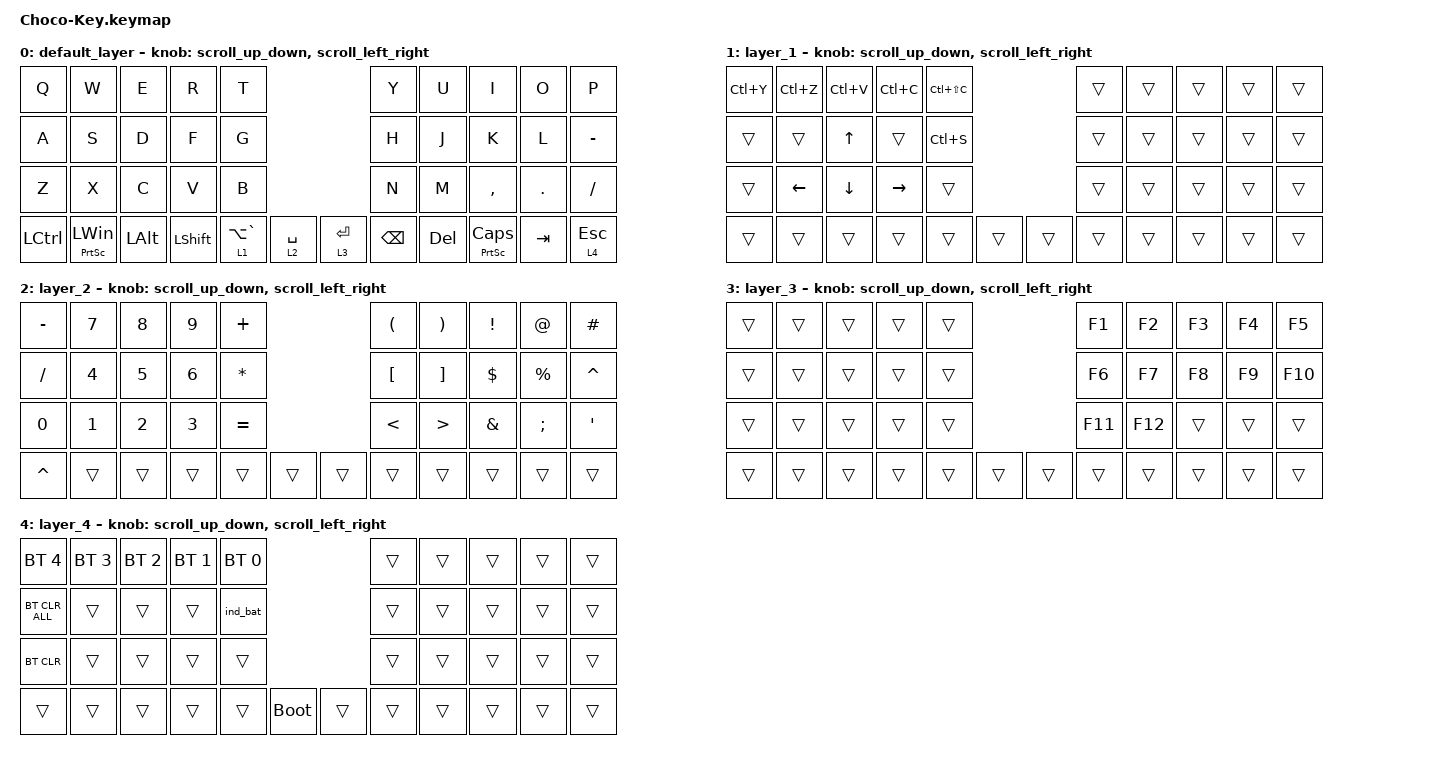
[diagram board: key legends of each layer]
#include <behaviors.dtsi>
#include <dt-bindings/zmk/bt.h>
#include <dt-bindings/zmk/keys.h>
#include <dt-bindings/zmk/pointing.h>
#include <behaviors/rgbled_widget.dtsi>

#define ZMK_POINTING_DEFAULT_SCRL_VAL 100

&mt {
    flavor = "balanced";
    quick-tap-ms = <0>;
};

/ {
    combos { compatible = "zmk,combos"; };

    macros {
        to_layer_0: to_layer_0 {
            compatible = "zmk,behavior-macro-one-param";
            #binding-cells = <1>;
            bindings = <&to 0 &macro_param_1to1 &kp MACRO_PLACEHOLDER>;
            label = "TO_LAYER_0";
        };
    };

    behaviors {
        lt_to_layer_0: lt_to_layer_0 {
            compatible = "zmk,behavior-hold-tap";
            label = "LAYER_TAP_TO_0";
            bindings = <&mo>, <&to_layer_0>;

            #binding-cells = <2>;
            tapping-term-ms = <200>;
        };

        scroll_up_down: behavior_sensor_rotate_mouse_wheel_up_down {
            compatible = "zmk,behavior-sensor-rotate";
            #sensor-binding-cells = <0>;
            bindings = <&msc SCRL_UP>, <&msc SCRL_DOWN>;

            tap-ms = <20>;
        };

        scroll_left_right: behavior_sensor_rotate_mouse_wheel_left_right {
            compatible = "zmk,behavior-sensor-rotate";
            #sensor-binding-cells = <0>;
            bindings = <&msc SCRL_RIGHT>, <&msc SCRL_LEFT>;

            tap-ms = <20>;
        };  
    };

    keymap {
        compatible = "zmk,keymap";

        default_layer {
            bindings = <
&kp Q      &kp W           &kp E     &kp R      &kp T                                        &kp Y     &kp U    &kp I           &kp O    &kp P
&kp A      &kp S           &kp D     &kp F      &kp G                                        &kp H     &kp J    &kp K           &kp L    &kp MINUS
&kp Z      &kp X           &kp C     &kp V      &kp B                                        &kp N     &kp M    &kp COMMA       &kp DOT  &kp SLASH
&kp LCTRL  &mt PSCRN LWIN  &kp LALT  &kp LSHFT  &lt 1 LA(GRAVE)  &lt 2 SPACE    &lt 3 ENTER  &kp BSPC  &kp DEL  &mt PSCRN CAPS  &kp TAB  &lt 4 ESC
            >;

            sensor-bindings = <&scroll_up_down>, <&scroll_left_right>;
        };

        layer_1 {
            bindings = <
&kp LC(Y)  &kp LC(Z)  &kp LC(V)  &kp LC(C)  &kp LC(LS(C))                    &trans  &trans  &trans  &trans  &trans
&trans     &trans     &kp UP     &trans     &kp LC(S)                        &trans  &trans  &trans  &trans  &trans
&trans     &kp LEFT   &kp DOWN   &kp RIGHT  &trans                           &trans  &trans  &trans  &trans  &trans
&trans     &trans     &trans     &trans     &trans         &trans    &trans  &trans  &trans  &trans  &trans  &trans
            >;

            sensor-bindings = <&scroll_up_down>, <&scroll_left_right>;
        };

        layer_2 {
            bindings = <
&kp MINUS  &kp N7  &kp N8  &kp N9  &kp PLUS                     &kp LPAR  &kp RPAR  &kp EXCL  &kp AT     &kp HASH
&kp SLASH  &kp N4  &kp N5  &kp N6  &kp ASTRK                    &kp LBKT  &kp RBKT  &kp DLLR  &kp PRCNT  &kp CARET          
&kp N0     &kp N1  &kp N2  &kp N3  &kp EQUAL                    &kp LT    &kp GT    &kp AMPS  &kp SEMI   &kp SQT
&kp CARET  &trans  &trans  &trans  &trans     &trans    &trans  &trans    &trans    &trans    &trans     &trans                  
            >;

            sensor-bindings = <&scroll_up_down>, <&scroll_left_right>;
        };

        layer_3 {
            bindings = <
&trans  &trans  &trans  &trans  &trans                    &kp F1   &kp F2   &kp F3  &kp F4  &kp F5
&trans  &trans  &trans  &trans  &trans                    &kp F6   &kp F7   &kp F8  &kp F9  &kp F10
&trans  &trans  &trans  &trans  &trans                    &kp F11  &kp F12  &trans  &trans  &trans
&trans  &trans  &trans  &trans  &trans  &trans    &trans  &trans   &trans   &trans  &trans  &trans 
            >;

            sensor-bindings = <&scroll_up_down>, <&scroll_left_right>;
        };

        layer_4 {
            bindings = <
&bt BT_SEL 4    &bt BT_SEL 3  &bt BT_SEL 2  &bt BT_SEL 1  &bt BT_SEL 0                         &trans  &trans  &trans  &trans  &trans 
&bt BT_CLR_ALL  &trans        &trans        &trans        &ind_bat                             &trans  &trans  &trans  &trans  &trans
&bt BT_CLR      &trans        &trans        &trans        &trans                               &trans  &trans  &trans  &trans  &trans
&trans          &trans        &trans        &trans        &trans        &bootloader    &trans  &trans  &trans  &trans  &trans  &trans
            >;

            sensor-bindings = <&scroll_up_down>, <&scroll_left_right>;
        };
    };
};
